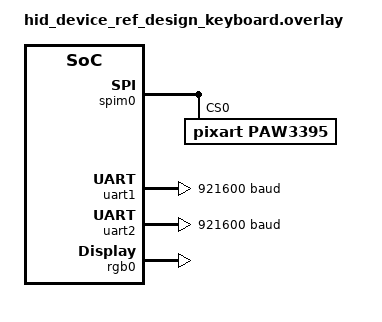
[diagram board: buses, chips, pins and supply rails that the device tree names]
/* Copyright Statement:
 *
 * (C) 2024  Airoha Technology Corp. All rights reserved.
 *
 * This software/firmware and related documentation ("Airoha Software") are
 * protected under relevant copyright laws. The information contained herein
 * is confidential and proprietary to Airoha Technology Corp. ("Airoha") and/or its licensors.
 * Without the prior written permission of Airoha and/or its licensors,
 * any reproduction, modification, use or disclosure of Airoha Software,
 * and information contained herein, in whole or in part, shall be strictly prohibited.
 * You may only use, reproduce, modify, or distribute (as applicable) Airoha Software
 * if you have agreed to and been bound by the applicable license agreement with
 * Airoha ("License Agreement") and been granted explicit permission to do so within
 * the License Agreement ("Permitted User").  If you are not a Permitted User,
 * please cease any access or use of Airoha Software immediately.
 * BY OPENING THIS FILE, RECEIVER HEREBY UNEQUIVOCALLY ACKNOWLEDGES AND AGREES
 * THAT AIROHA SOFTWARE RECEIVED FROM AIROHA AND/OR ITS REPRESENTATIVES
 * ARE PROVIDED TO RECEIVER ON AN "AS-IS" BASIS ONLY. AIROHA EXPRESSLY DISCLAIMS ANY AND ALL
 * WARRANTIES, EXPRESS OR IMPLIED, INCLUDING BUT NOT LIMITED TO THE IMPLIED WARRANTIES OF
 * MERCHANTABILITY, FITNESS FOR A PARTICULAR PURPOSE OR NONINFRINGEMENT.
 * NEITHER DOES AIROHA PROVIDE ANY WARRANTY WHATSOEVER WITH RESPECT TO THE
 * SOFTWARE OF ANY THIRD PARTY WHICH MAY BE USED BY, INCORPORATED IN, OR
 * SUPPLIED WITH AIROHA SOFTWARE, AND RECEIVER AGREES TO LOOK ONLY TO SUCH
 * THIRD PARTY FOR ANY WARRANTY CLAIM RELATING THERETO. RECEIVER EXPRESSLY ACKNOWLEDGES
 * THAT IT IS RECEIVER'S SOLE RESPONSIBILITY TO OBTAIN FROM ANY THIRD PARTY ALL PROPER LICENSES
 * CONTAINED IN AIROHA SOFTWARE. AIROHA SHALL ALSO NOT BE RESPONSIBLE FOR ANY AIROHA
 * SOFTWARE RELEASES MADE TO RECEIVER'S SPECIFICATION OR TO CONFORM TO A PARTICULAR
 * STANDARD OR OPEN FORUM. RECEIVER'S SOLE AND EXCLUSIVE REMEDY AND AIROHA'S ENTIRE AND
 * CUMULATIVE LIABILITY WITH RESPECT TO AIROHA SOFTWARE RELEASED HEREUNDER WILL BE,
 * AT AIROHA'S OPTION, TO REVISE OR REPLACE AIROHA SOFTWARE AT ISSUE,
 * OR REFUND ANY SOFTWARE LICENSE FEES OR SERVICE CHARGE PAID BY RECEIVER TO
 * AIROHA FOR SUCH AIROHA SOFTWARE AT ISSUE.
 */

&spim0 {
	frequency = <8000000>;
	status = "okay";
	paw3395: paw3395@0{
		compatible = "pixart,paw3395";
		reg= <0>;
		cpi = <1600>;
		lod = "lift_cut_off_1mm";
		rest_mode = <0>;
		motion_sync = <0>;
		ripple_control = <0>;
		angle_snap = <0>;
		mode = "cord";
		xy_direction = "no_direction_adjustment";
		rest1_period_time = <1>;
		rest2_period_time = <20>;
		rest3_period_time = <160>;
		status = "okay";
	};
};

&uart1 {
    status = "okay";
    current-speed = < 0xE1000 >;
    data-bits = <3>;
    stop-bits = <1>;
    parity = <0>;
    tbuf-size = <0>;
    rbuf-size = <0>;
};
&uart2 {
    status = "okay";
    current-speed = < 0xE1000 >;
    data-bits = <3>;
    stop-bits = <1>;
    parity = <0>;
    tbuf-size = <0>;
    rbuf-size = <0>;
};

&pwm_dma0 {
	led_rgb_frequency = <60>;
	status = "okay";
	channel_polarity = <1 1 1 1>;
	rgb_gpio_channel = <0>;
	rgb0: rgb@0{
		compatible = "airoha,air-rgb";
		reg = <0>;
		gpio_control = <38>;
		gpio_polarity = <1>;
		r_channel = <1>;
		g_channel = <2>;
		b_channel = <3>;
		port = <0>;
		status = "okay";
	};
};

&pinctrl {
	gpio0_default: gpio0_default {

		/*kb setting enable*/
		gpio5{
			pinmux = <GPIO_5_GPIO5>;
			output-enable;
			output-high;
		};
		gpio46{
			pinmux = <GPIO_46_GPIO46>;
			output-enable;
			output-high;
		};
		gpio44{
			pinmux = <GPIO_44_GPIO44>;
			output-enable;
			output-high;
		};

		/** kb row mux gpio setting **/
		gpio6{
			pinmux = <GPIO_6_GPIO6>;
			output-enable;
		};
		gpio7{
			pinmux = <GPIO_7_GPIO7>;
			output-enable;
		};
		gpio8{
			pinmux = <GPIO_8_GPIO8>;
			output-enable;
		};


		/** kb col gpio setting **/
		gpio26{
			pinmux = <GPIO_26_AUXADC1_SARADC0_AIODIFF0_SADIFF0>;
		};
		gpio27{
			pinmux = <GPIO_27_AUXADC2_SARADC1_AIODIFF0_SADIFF0>;
		};
		gpio28{
			pinmux = <GPIO_28_AUXADC3_SARADC2_AIODIFF1_SADIFF1_AMIC>;
		};
		gpio29{
			pinmux = <GPIO_29_AUXADC4_SARADC3_AIODIFF1_SADIFF1_AMIC>;
		};
		gpio30{
			pinmux = <GPIO_30_AUXADC5_SARADC4_SADIFF2>;
		};
		gpio31{
			pinmux = <GPIO_31_AUXADC6_SARADC5_SADIFF2>;
		};
		gpio32{
			pinmux = <GPIO_32_AUXADC7_SARADC6_SADIFF3>;
		};
		gpio33{
			pinmux = <GPIO_33_AUXADC8_SARADC7_SADIFF3>;
		};
		gpio34{
			pinmux = <GPIO_34_AUXADC9_SARADC8_SADIFF4>;
		};
		gpio35{
			pinmux = <GPIO_35_SARADC9_SADIFF4>;
		};
		gpio36{
			pinmux = <GPIO_36_SARADC10_SADIFF5>;
		};
		gpio37{
			pinmux = <GPIO_37_SARADC11_SADIFF5>;
		};
		gpio40{
			pinmux = <GPIO_40_SARADC12_SADIFF6>;
		};
		gpio41{
			pinmux = <GPIO_41_SARADC13_SADIFF6>;
		};
		gpio42{
			pinmux = <GPIO_42_SARADC14_SADIFF7>;
		};
		gpio43{
			pinmux = <GPIO_43_SARADC15_SADIFF7>;
		};
	};

	gpio1_default: gpio1_default {

	};
};



